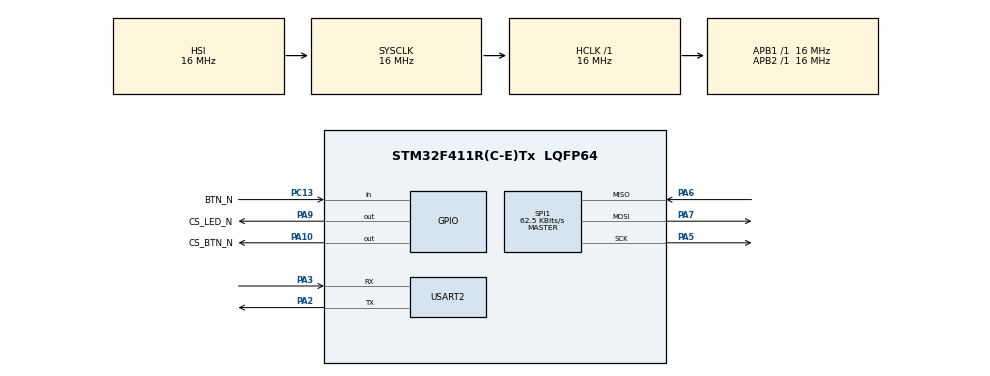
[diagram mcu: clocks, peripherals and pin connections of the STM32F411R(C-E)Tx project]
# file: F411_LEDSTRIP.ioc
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Mcu.Family=STM32F4
Mcu.Name=STM32F411R(C-E)Tx
Mcu.Package=LQFP64
NVIC.FPU_IRQn=true\:0\:0\:false\:false\:true\:true\:false
NVIC.PriorityGroup=NVIC_PRIORITYGROUP_4
NVIC.USART2_IRQn=true\:0\:0\:false\:false\:true\:true\:true
PA10.GPIO_Label=CS_BTN_N
PA10.Signal=GPIO_Output
PA2.Mode=Asynchronous
PA2.Signal=USART2_TX
PA3.Mode=Asynchronous
PA3.Signal=USART2_RX
PA5.GPIO_Speed=GPIO_SPEED_FREQ_MEDIUM
PA5.Mode=Full_Duplex_Master
PA5.Signal=SPI1_SCK
PA6.Mode=Full_Duplex_Master
PA6.Signal=SPI1_MISO
PA7.Mode=Full_Duplex_Master
PA7.Signal=SPI1_MOSI
PA9.GPIO_Label=CS_LED_N
PA9.Signal=GPIO_Output
PC13-ANTI_TAMP.GPIO_Label=BTN_N
PC13-ANTI_TAMP.Signal=GPIO_Input
ProjectManager.HeapSize=0x200
ProjectManager.StackSize=0x400
ProjectManager.TargetToolchain=MDK-ARM V5
RCC.AHBFreq_Value=16000000
RCC.APB1Freq_Value=16000000
RCC.APB2Freq_Value=16000000
RCC.CortexFreq_Value=16000000
RCC.HSE_VALUE=25000000
RCC.HSI_VALUE=16000000
RCC.LSE_VALUE=32768
RCC.SYSCLKFreq_VALUE=16000000
RCC.VCOOutputFreq_Value=192000000
SPI1.BaudRatePrescaler=SPI_BAUDRATEPRESCALER_256
SPI1.CalculateBaudRate=62.5 KBits/s
SPI1.Direction=SPI_DIRECTION_2LINES
SPI1.FirstBit=SPI_FIRSTBIT_LSB
SPI1.Mode=SPI_MODE_MASTER
SPI1.VirtualType=VM_MASTER
USART2.VirtualMode=VM_ASYNC
board=custom

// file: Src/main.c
/* USER CODE BEGIN Header */
/**
  ******************************************************************************
  * @file           : main.c
  * @brief          : Main program body
  ******************************************************************************
  * @attention
  *
  * <h2><center>&copy; Copyright (c) 2019 STMicroelectronics.
  * All rights reserved.</center></h2>
  *
  * This software component is licensed by ST under BSD 3-Clause license,
  * the "License"; You may not use this file except in compliance with the
  * License. You may obtain a copy of the License at:
  *                        opensource.org/licenses/BSD-3-Clause
  *
  ******************************************************************************
  */
/* USER CODE END Header */

#include "main.h"

/* USER CODE BEGIN Includes */
#include <stdio.h>
#include <stdlib.h>
#include <string.h>
/* USER CODE END Includes */

SPI_HandleTypeDef hspi1;

UART_HandleTypeDef huart2;

void SystemClock_Config(void);
static void MX_GPIO_Init(void);
static void MX_SPI1_Init(void);
static void MX_USART2_UART_Init(void);
void setColor(uint8_t * color);

/* USER CODE BEGIN 0 */
		volatile uint8_t data[] =  //BLUE GREEN RED
		{ 0x00, 0x00, 0x00, 0x00, //start frame
			0x00, 0x00, 0x00, 0x00, //start frame
			0x97, 255, 0, 0x00, //led frame 1: blue
			0x97, 0x00, 0xFF, 0x00, //led frame 2: green
			0x97, 0x00, 0x00, 0xFF, //led frame 3: red
			0x97, 0x00, 0xFF, 0xFF, //led frame 4: yellow
			0x97, 0xFF, 0xFF, 0xFF, //led frame 5: white
			0x00, 0x00, 0x00, 0x00, //end frame
			0x00, 0x00, 0x00, 0x00, //end frame
		};

		volatile uint8_t rec_data[9];

		volatile uint8_t received = 0;

		uint8_t convertToInt(const char* a) {
    return ('0' <= *a && *a <= '9') ? (*a - '0') : 255;
}

uint8_t CombineInts(const char* arr, uint8_t len) {
    uint8_t res = 0;
    for (uint8_t i = 0; i < len; i++) {
        uint8_t temp = convertToInt(&arr[i]);
        if (temp != 255) {
            res += temp;
            res *= 10;
        }
    }
    return res/10;
}

/* USER CODE END 0 */

int main(void)
{

  /* MCU Configuration--------------------------------------------------------*/

  /* Reset of all peripherals, Initializes the Flash interface and the Systick. */
  HAL_Init();

  /* Configure the system clock */
  SystemClock_Config();

  /* Initialize all configured peripherals */
  MX_GPIO_Init();
  MX_SPI1_Init();
  MX_USART2_UART_Init();
  /* USER CODE BEGIN 2 */
	__HAL_UART_ENABLE_IT(&huart2, UART_IT_RXNE);     // enable Receive interupt!
  /* USER CODE END 2 */

  /* Infinite loop */
  while (1)
  {

    /* USER CODE BEGIN 3 */

		HAL_SPI_Transmit(&hspi1, data, sizeof(data), 100);

		//uint8_t text[] = "ledstrip data verstuurd\n";
		//HAL_UART_Transmit(&huart2, text, sizeof(text), 100);

		printf("Rec_Data: ");
		for(uint8_t i = 0; i < sizeof(rec_data)/sizeof(uint8_t); i++){
			printf("%c", rec_data[i]);
		}
		printf("\n");

		HAL_Delay(1000);

		if(received == 1) {
			setColor(rec_data);
			received = 0;
		}
  }
  /* USER CODE END 3 */
}

void SystemClock_Config(void)
{
  RCC_OscInitTypeDef RCC_OscInitStruct = {0};
  RCC_ClkInitTypeDef RCC_ClkInitStruct = {0};

  /** Configure the main internal regulator output voltage
  */
  __HAL_RCC_PWR_CLK_ENABLE();
  __HAL_PWR_VOLTAGESCALING_CONFIG(PWR_REGULATOR_VOLTAGE_SCALE1);
  /** Initializes the CPU, AHB and APB busses clocks
  */
  RCC_OscInitStruct.OscillatorType = RCC_OSCILLATORTYPE_HSI;
  RCC_OscInitStruct.HSIState = RCC_HSI_ON;
  RCC_OscInitStruct.HSICalibrationValue = RCC_HSICALIBRATION_DEFAULT;
  RCC_OscInitStruct.PLL.PLLState = RCC_PLL_NONE;
  if (HAL_RCC_OscConfig(&RCC_OscInitStruct) != HAL_OK)
  {
    Error_Handler();
  }
  /** Initializes the CPU, AHB and APB busses clocks
  */
  RCC_ClkInitStruct.ClockType = RCC_CLOCKTYPE_HCLK|RCC_CLOCKTYPE_SYSCLK
                              |RCC_CLOCKTYPE_PCLK1|RCC_CLOCKTYPE_PCLK2;
  RCC_ClkInitStruct.SYSCLKSource = RCC_SYSCLKSOURCE_HSI;
  RCC_ClkInitStruct.AHBCLKDivider = RCC_SYSCLK_DIV1;
  RCC_ClkInitStruct.APB1CLKDivider = RCC_HCLK_DIV1;
  RCC_ClkInitStruct.APB2CLKDivider = RCC_HCLK_DIV1;

  if (HAL_RCC_ClockConfig(&RCC_ClkInitStruct, FLASH_LATENCY_0) != HAL_OK)
  {
    Error_Handler();
  }
}

static void MX_SPI1_Init(void)
{

  /* SPI1 parameter configuration*/
  hspi1.Instance = SPI1;
  hspi1.Init.Mode = SPI_MODE_MASTER;
  hspi1.Init.Direction = SPI_DIRECTION_2LINES;
  hspi1.Init.DataSize = SPI_DATASIZE_8BIT;
  hspi1.Init.CLKPolarity = SPI_POLARITY_LOW;
  hspi1.Init.CLKPhase = SPI_PHASE_1EDGE;
  hspi1.Init.NSS = SPI_NSS_SOFT;
  hspi1.Init.BaudRatePrescaler = SPI_BAUDRATEPRESCALER_256;
  hspi1.Init.FirstBit = SPI_FIRSTBIT_LSB;
  hspi1.Init.TIMode = SPI_TIMODE_DISABLE;
  hspi1.Init.CRCCalculation = SPI_CRCCALCULATION_DISABLE;
  hspi1.Init.CRCPolynomial = 10;
  if (HAL_SPI_Init(&hspi1) != HAL_OK)
  {
    Error_Handler();
  }

}

static void MX_USART2_UART_Init(void)
{

  huart2.Instance = USART2;
  huart2.Init.BaudRate = 115200;
  huart2.Init.WordLength = UART_WORDLENGTH_8B;
  huart2.Init.StopBits = UART_STOPBITS_1;
  huart2.Init.Parity = UART_PARITY_NONE;
  huart2.Init.Mode = UART_MODE_TX_RX;
  huart2.Init.HwFlowCtl = UART_HWCONTROL_NONE;
  huart2.Init.OverSampling = UART_OVERSAMPLING_16;
  if (HAL_UART_Init(&huart2) != HAL_OK)
  {
    Error_Handler();
  }

}

static void MX_GPIO_Init(void)
{
  GPIO_InitTypeDef GPIO_InitStruct = {0};

  /* GPIO Ports Clock Enable */
  __HAL_RCC_GPIOC_CLK_ENABLE();
  __HAL_RCC_GPIOA_CLK_ENABLE();

  /*Configure GPIO pin Output Level */
  HAL_GPIO_WritePin(GPIOA, CS_LED_N_Pin|CS_BTN_N_Pin, GPIO_PIN_RESET);

  /*Configure GPIO pin : BTN_N_Pin */
  GPIO_InitStruct.Pin = BTN_N_Pin;
  GPIO_InitStruct.Mode = GPIO_MODE_INPUT;
  GPIO_InitStruct.Pull = GPIO_NOPULL;
  HAL_GPIO_Init(BTN_N_GPIO_Port, &GPIO_InitStruct);

  /*Configure GPIO pins : CS_LED_N_Pin CS_BTN_N_Pin */
  GPIO_InitStruct.Pin = CS_LED_N_Pin|CS_BTN_N_Pin;
  GPIO_InitStruct.Mode = GPIO_MODE_OUTPUT_PP;
  GPIO_InitStruct.Pull = GPIO_NOPULL;
  GPIO_InitStruct.Speed = GPIO_SPEED_FREQ_LOW;
  HAL_GPIO_Init(GPIOA, &GPIO_InitStruct);

}

/* USER CODE BEGIN 4 */
int fputc(int ch, FILE *f) {
HAL_UART_Transmit(&huart2,(uint8_t*)&ch,1,HAL_MAX_DELAY); return ch;
}
int fgetc(FILE *f) {
int ch=0;
HAL_UART_Receive(&huart2,(uint8_t*)&ch,1,HAL_MAX_DELAY); return ch;
}

void setColor(uint8_t * color){
	uint8_t res = 0;

	res = CombineInts(color, 3);
	if(res >= 255) res = 255;
	//set BLUE value for every LED
	data[9] = data[13] = data[17] = data[21] = data[25] = res;

	res = CombineInts(color+3, 3);
	if(res >= 255) res = 254;
	//set GREEN
	data[10] = data[14] = data[18] = data[22] = data[26] = res;

	res = CombineInts(color+6, 3);
	if(res >= 255) res = 254;
	//set RED
	data[11] = data[15] = data[19] = data[23]=  data[27]= res;
}

void USART2_IRQHandler(void)
{
  /* USER CODE BEGIN USART2_IRQn 0 */

  /* USER CODE END USART2_IRQn 0 */
  HAL_UART_IRQHandler(&huart2);
  /* USER CODE BEGIN USART2_IRQn 1 */
	HAL_UART_Receive_IT(&huart2, rec_data, 9);

	received = 1;

  /* USER CODE END USART2_IRQn 1 */
}
/* USER CODE END 4 */

void Error_Handler(void)
{
}

/************************ (C) COPYRIGHT STMicroelectronics *****END OF FILE****/
